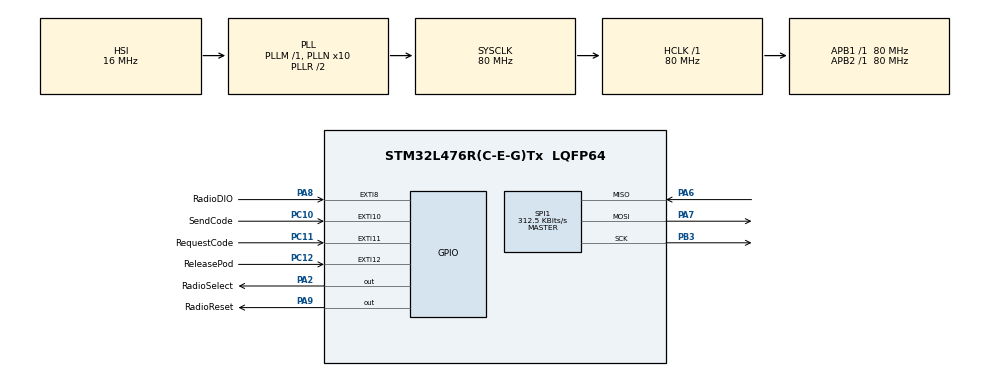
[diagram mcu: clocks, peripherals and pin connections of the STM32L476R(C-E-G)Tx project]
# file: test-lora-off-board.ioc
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Mcu.Family=STM32L4
Mcu.Name=STM32L476R(C-E-G)Tx
Mcu.Package=LQFP64
NVIC.EXTI15_10_IRQn=true\:0\:0\:false\:false\:true\:true\:true\:true
NVIC.EXTI9_5_IRQn=true\:0\:0\:false\:false\:true\:true\:true\:true
NVIC.PriorityGroup=NVIC_PRIORITYGROUP_4
NVIC.SPI1_IRQn=true\:0\:0\:false\:false\:true\:true\:true\:true
PA13\ (JTMS-SWDIO).Mode=Serial_Wire
PA13\ (JTMS-SWDIO).Signal=SYS_JTMS-SWDIO
PA14\ (JTCK-SWCLK).Mode=Serial_Wire
PA14\ (JTCK-SWCLK).Signal=SYS_JTCK-SWCLK
PA2.GPIO_Label=RadioSelect
PA2.Signal=GPIO_Output
PA6.Mode=Full_Duplex_Master
PA6.Signal=SPI1_MISO
PA7.Mode=Full_Duplex_Master
PA7.Signal=SPI1_MOSI
PA8.GPIO_Label=RadioDIO
PA8.Signal=GPXTI8
PA9.GPIO_Label=RadioReset
PA9.Signal=GPIO_Output
PB3\ (JTDO-TRACESWO).Mode=Full_Duplex_Master
PB3\ (JTDO-TRACESWO).Signal=SPI1_SCK
PC10.GPIO_Label=SendCode
PC10.Signal=GPXTI10
PC11.GPIO_Label=RequestCode
PC11.Signal=GPXTI11
PC12.GPIO_Label=ReleasePod
PC12.Signal=GPXTI12
ProjectManager.HeapSize=0x200
ProjectManager.StackSize=0x400
ProjectManager.TargetToolchain=STM32CubeIDE
RCC.ADCFreq_Value=64000000
RCC.AHBFreq_Value=80000000
RCC.APB1Freq_Value=80000000
RCC.APB1TimFreq_Value=80000000
RCC.APB2Freq_Value=80000000
RCC.APB2TimFreq_Value=80000000
RCC.CortexFreq_Value=80000000
RCC.HCLKFreq_Value=80000000
RCC.HSE_VALUE=8000000
RCC.HSI_VALUE=16000000
RCC.LSE_VALUE=32768
RCC.MSI_VALUE=4000000
RCC.PLLN=10
RCC.PLLSourceVirtual=RCC_PLLSOURCE_HSI
RCC.SYSCLKFreq_VALUE=80000000
RCC.SYSCLKSource=RCC_SYSCLKSOURCE_PLLCLK
RCC.USBFreq_Value=64000000
RCC.VCOOutputFreq_Value=160000000
SPI1.BaudRatePrescaler=SPI_BAUDRATEPRESCALER_256
SPI1.CalculateBaudRate=312.5 KBits/s
SPI1.DataSize=SPI_DATASIZE_8BIT
SPI1.Direction=SPI_DIRECTION_2LINES
SPI1.Mode=SPI_MODE_MASTER
SPI1.NSSPMode=SPI_NSS_PULSE_DISABLE
SPI1.VirtualType=VM_MASTER
board=custom

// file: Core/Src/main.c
/* USER CODE BEGIN Header */
/**
  ******************************************************************************
  * @file           : main.c
  * @brief          : Main program body
  ******************************************************************************
  * @attention
  *
  * Copyright (c) 2024 STMicroelectronics.
  * All rights reserved.
  *
  * This software is licensed under terms that can be found in the LICENSE file
  * in the root directory of this software component.
  * If no LICENSE file comes with this software, it is provided AS-IS.
  *
  ******************************************************************************
  */
/* USER CODE END Header */
#include "main.h"

/* USER CODE BEGIN Includes */
#include "Custom/util.h"
#include "Custom/timed-lock.h"
#include "Custom/lora.h"
/* USER CODE END Includes */

SPI_HandleTypeDef hspi1;

/* USER CODE BEGIN PV */
lora_t lora;
uint8_t buffer[1] = {0};
timed_lock_t send_code_lock, req_code_lock, release_pod_lock;
bool do_transmit = false, was_interrupt = false;
/* USER CODE END PV */

void SystemClock_Config(void);
static void MX_GPIO_Init(void);
static void MX_SPI1_Init(void);

/* USER CODE BEGIN 0 */
void transmit_message(void) {
	buffer[0]++;
	do_transmit = true;
}

void setup(void) {
	lora_setup(&lora, &hspi1, RadioSelect_GPIO_Port, RadioSelect_Pin, RadioReset_GPIO_Port, RadioReset_Pin);

	timed_lock_init(&send_code_lock, 10, transmit_message);
	timed_lock_init(&req_code_lock, 10, transmit_message);
	timed_lock_init(&release_pod_lock, 10, transmit_message);
}

void loop(void) {
	if (do_transmit) {
		lora_send(&lora, buffer, sizeof(buffer));
		do_transmit = false;
	}

	if (was_interrupt) {
		was_interrupt = false;
		uint8_t irq = lora_irq(&lora);
		lora_irq_clear(&lora);
	}
}

void HAL_GPIO_EXTI_Callback(uint16_t pin) {
	switch (pin) {
	  case SendCode_Pin:
		  timed_lock_call(&send_code_lock, HAL_GetTick());
		  break;
	  case RequestCode_Pin:
	  	  timed_lock_call(&req_code_lock, HAL_GetTick());
	  	  break;
	  case ReleasePod_Pin:
	  	  timed_lock_call(&release_pod_lock, HAL_GetTick());
	  	  break;
	  case RadioDIO_Pin:
		  was_interrupt = true;
		  break;
	  }
}
/* USER CODE END 0 */

int main(void)
{

  /* MCU Configuration--------------------------------------------------------*/

  /* Reset of all peripherals, Initializes the Flash interface and the Systick. */
  HAL_Init();

  /* Configure the system clock */
  SystemClock_Config();

  /* Initialize all configured peripherals */
  MX_GPIO_Init();
  MX_SPI1_Init();
  /* USER CODE BEGIN 2 */
  setup();
  /* USER CODE END 2 */

  /* Infinite loop */
  /* USER CODE BEGIN WHILE */
  while (1)
  {
    loop();
    /* USER CODE END WHILE */

  }
}

void SystemClock_Config(void)
{
  RCC_OscInitTypeDef RCC_OscInitStruct = {0};
  RCC_ClkInitTypeDef RCC_ClkInitStruct = {0};

  /** Configure the main internal regulator output voltage
  */
  if (HAL_PWREx_ControlVoltageScaling(PWR_REGULATOR_VOLTAGE_SCALE1) != HAL_OK)
  {
    Error_Handler();
  }

  /** Initializes the RCC Oscillators according to the specified parameters
  * in the RCC_OscInitTypeDef structure.
  */
  RCC_OscInitStruct.OscillatorType = RCC_OSCILLATORTYPE_HSI;
  RCC_OscInitStruct.HSIState = RCC_HSI_ON;
  RCC_OscInitStruct.HSICalibrationValue = RCC_HSICALIBRATION_DEFAULT;
  RCC_OscInitStruct.PLL.PLLState = RCC_PLL_ON;
  RCC_OscInitStruct.PLL.PLLSource = RCC_PLLSOURCE_HSI;
  RCC_OscInitStruct.PLL.PLLM = 1;
  RCC_OscInitStruct.PLL.PLLN = 10;
  RCC_OscInitStruct.PLL.PLLP = RCC_PLLP_DIV7;
  RCC_OscInitStruct.PLL.PLLQ = RCC_PLLQ_DIV2;
  RCC_OscInitStruct.PLL.PLLR = RCC_PLLR_DIV2;
  if (HAL_RCC_OscConfig(&RCC_OscInitStruct) != HAL_OK)
  {
    Error_Handler();
  }

  /** Initializes the CPU, AHB and APB buses clocks
  */
  RCC_ClkInitStruct.ClockType = RCC_CLOCKTYPE_HCLK|RCC_CLOCKTYPE_SYSCLK
                              |RCC_CLOCKTYPE_PCLK1|RCC_CLOCKTYPE_PCLK2;
  RCC_ClkInitStruct.SYSCLKSource = RCC_SYSCLKSOURCE_PLLCLK;
  RCC_ClkInitStruct.AHBCLKDivider = RCC_SYSCLK_DIV1;
  RCC_ClkInitStruct.APB1CLKDivider = RCC_HCLK_DIV1;
  RCC_ClkInitStruct.APB2CLKDivider = RCC_HCLK_DIV1;

  if (HAL_RCC_ClockConfig(&RCC_ClkInitStruct, FLASH_LATENCY_4) != HAL_OK)
  {
    Error_Handler();
  }
}

static void MX_SPI1_Init(void)
{

  /* SPI1 parameter configuration*/
  hspi1.Instance = SPI1;
  hspi1.Init.Mode = SPI_MODE_MASTER;
  hspi1.Init.Direction = SPI_DIRECTION_2LINES;
  hspi1.Init.DataSize = SPI_DATASIZE_8BIT;
  hspi1.Init.CLKPolarity = SPI_POLARITY_LOW;
  hspi1.Init.CLKPhase = SPI_PHASE_1EDGE;
  hspi1.Init.NSS = SPI_NSS_SOFT;
  hspi1.Init.BaudRatePrescaler = SPI_BAUDRATEPRESCALER_256;
  hspi1.Init.FirstBit = SPI_FIRSTBIT_MSB;
  hspi1.Init.TIMode = SPI_TIMODE_DISABLE;
  hspi1.Init.CRCCalculation = SPI_CRCCALCULATION_DISABLE;
  hspi1.Init.CRCPolynomial = 7;
  hspi1.Init.CRCLength = SPI_CRC_LENGTH_DATASIZE;
  hspi1.Init.NSSPMode = SPI_NSS_PULSE_DISABLE;
  if (HAL_SPI_Init(&hspi1) != HAL_OK)
  {
    Error_Handler();
  }

}

static void MX_GPIO_Init(void)
{
  GPIO_InitTypeDef GPIO_InitStruct = {0};

  /* GPIO Ports Clock Enable */
  __HAL_RCC_GPIOA_CLK_ENABLE();
  __HAL_RCC_GPIOC_CLK_ENABLE();
  __HAL_RCC_GPIOB_CLK_ENABLE();

  /*Configure GPIO pin Output Level */
  HAL_GPIO_WritePin(GPIOA, RadioSelect_Pin|RadioReset_Pin, GPIO_PIN_RESET);

  /*Configure GPIO pins : RadioSelect_Pin RadioReset_Pin */
  GPIO_InitStruct.Pin = RadioSelect_Pin|RadioReset_Pin;
  GPIO_InitStruct.Mode = GPIO_MODE_OUTPUT_PP;
  GPIO_InitStruct.Pull = GPIO_NOPULL;
  GPIO_InitStruct.Speed = GPIO_SPEED_FREQ_LOW;
  HAL_GPIO_Init(GPIOA, &GPIO_InitStruct);

  /*Configure GPIO pin : RadioDIO_Pin */
  GPIO_InitStruct.Pin = RadioDIO_Pin;
  GPIO_InitStruct.Mode = GPIO_MODE_IT_RISING;
  GPIO_InitStruct.Pull = GPIO_NOPULL;
  HAL_GPIO_Init(RadioDIO_GPIO_Port, &GPIO_InitStruct);

  /*Configure GPIO pins : SendCode_Pin RequestCode_Pin ReleasePod_Pin */
  GPIO_InitStruct.Pin = SendCode_Pin|RequestCode_Pin|ReleasePod_Pin;
  GPIO_InitStruct.Mode = GPIO_MODE_IT_RISING;
  GPIO_InitStruct.Pull = GPIO_NOPULL;
  HAL_GPIO_Init(GPIOC, &GPIO_InitStruct);

  /* EXTI interrupt init*/
  HAL_NVIC_SetPriority(EXTI9_5_IRQn, 0, 0);
  HAL_NVIC_EnableIRQ(EXTI9_5_IRQn);

  HAL_NVIC_SetPriority(EXTI15_10_IRQn, 0, 0);
  HAL_NVIC_EnableIRQ(EXTI15_10_IRQn);

}

void Error_Handler(void)
{
  __disable_irq();
  while (1)
  {
  }
}
